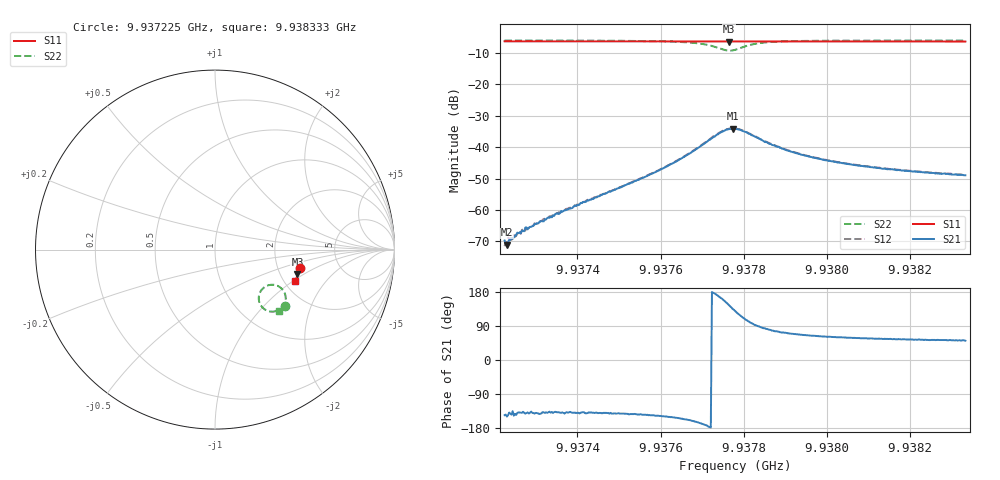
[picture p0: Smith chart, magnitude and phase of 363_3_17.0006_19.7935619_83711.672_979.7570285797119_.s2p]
#  HZ  S  RI  R  50.00
! Rohde & Schwarz Vector Network Analyzer
! Rohde-Schwarz,ZNB20-2Port,1311601062101988,3.16
! Created: UTC 3/20/2024, 11:08:20 PM
! freq[Hz]  re:S11  im:S11  re:S21  im:S21  re:S12  im:S12  re:S22  im:S22
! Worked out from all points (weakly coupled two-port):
!   401 points, 9.937225 GHz to 9.938333 GHz, reference 50 ohm
!   highest |S21| = -34.13 dB at 9.937773 GHz (marker M1); lowest = -71.0 dB at 9.93723 GHz (marker M2)
!   lowest |S11| = -6.4 dB at 9.937765 GHz (marker M3), VSWR 2.84, Z = 124 - j44.2 ohm
!   |S11| at or under -10 dB: nowhere
!   |S22| runs from -9.3 to -6.0 dB; largest |S21 - S12| = 0.00084
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9.9372249e9  0.4727 -0.1033  -0.00027 -0.000185  -0.00022 -0.000149  0.3889 -0.3118
9.9372304e9  0.4725 -0.1037  -0.000241 -0.000143  -0.000227 -0.000192  0.3883 -0.3122
9.9372387e9  0.4724 -0.1042  -0.000262 -0.000208  -0.000273 -0.000231  0.3879 -0.3127
9.9372471e9  0.4722 -0.1047  -0.000309 -0.000202  -0.00032 -0.00024  0.3873 -0.3132
9.937272e9  0.4717 -0.1066  -0.000346 -0.000302  -0.000362 -0.000289  0.3854 -0.3152
9.9373191e9  0.4707 -0.1097  -0.000492 -0.000439  -0.000513 -0.000507  0.3819 -0.3184
9.9374104e9  0.4689 -0.1157  -0.000956 -0.000859  -0.000991 -0.000826  0.3736 -0.3253
9.9375074e9  0.4669 -0.1222  -0.00183 -0.00145  -0.00189 -0.00147  0.3613 -0.3339
9.937596e9  0.4647 -0.1281  -0.00361 -0.00229  -0.00367 -0.00229  0.3421 -0.3424
9.9376541e9  0.4631 -0.1321  -0.00626 -0.00282  -0.0064 -0.00278  0.3177 -0.3459
9.9377068e9  0.4612 -0.1355  -0.0115 -0.00173  -0.0118 -0.00155  0.2754 -0.3321
9.9377428e9  0.4597 -0.1373  -0.0164 0.00428  -0.0165 0.00473  0.2442 -0.279
9.9377649e9  0.459 -0.1378  -0.0157 0.0113  -0.0157 0.012  0.2592 -0.2246
9.9377732e9  0.459 -0.1382  -0.0138 0.014  -0.0137 0.0144  0.2764 -0.2088
9.9377788e9  0.4589 -0.1383  -0.0124 0.0151  -0.0123 0.0157  0.2898 -0.2014
9.9377981e9  0.4593 -0.1391  -0.00661 0.0167  -0.00621 0.0173  0.3372 -0.1979
9.9378369e9  0.4592 -0.1418  0.000343 0.0136  0.000729 0.0137  0.3853 -0.2357
9.9378978e9  0.4581 -0.1463  0.00281 0.00875  0.00303 0.00872  0.3938 -0.2797
9.9379643e9  0.4565 -0.1509  0.00301 0.00621  0.00318 0.00623  0.3879 -0.3026
9.9380474e9  0.4543 -0.1564  0.0028 0.00464  0.0029 0.00466  0.3798 -0.3182
9.9381498e9  0.4515 -0.163  0.00253 0.00367  0.00259 0.00367  0.3711 -0.3305
9.9383326e9  0.4465 -0.1748  0.00225 0.00277  0.0023 0.00281  0.3581 -0.3446
